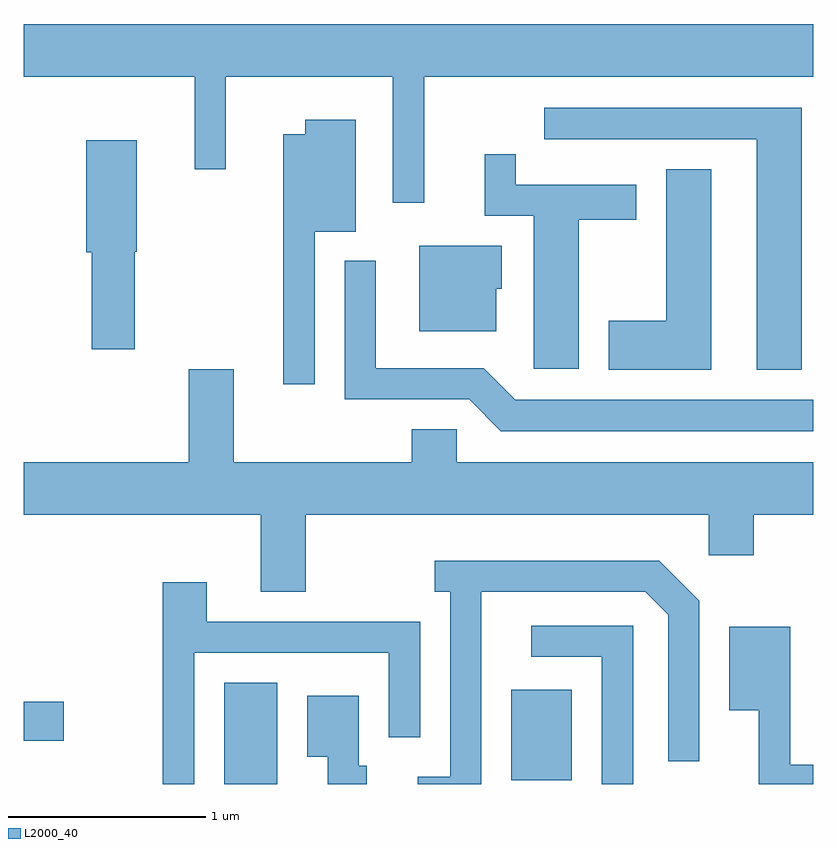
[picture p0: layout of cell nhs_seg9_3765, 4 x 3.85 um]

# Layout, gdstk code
import gdstk
lib = gdstk.Library(unit=1e-6, precision=1e-09)
def R(c, l, rs):  # rectangles x0, y0, x1, y1
    for r in rs: c.add(gdstk.rectangle(r[:2], r[2:], *l))
def P(c, l, *ps):  # polygons
    for p in ps: c.add(gdstk.Polygon(p, *l))
L2000_40 = (2000, 40)

nhs_seg9_3765 = lib.new_cell('nhs_seg9_3765')
R(nhs_seg9_3765, L2000_40, [(296.626,2010.432,296.894,2010.944), (298.081,2010.451,298.389,2010.909), (295.611,2010.651,295.814,2010.849)])
P(nhs_seg9_3765, L2000_40, [(297.639,2014.016),(299.611,2014.016),(299.611,2014.284),(295.611,2014.284),(295.611,2014.016),(296.476,2014.016),(296.476,2013.548),(296.634,2013.548),(296.634,2014.016),(297.481,2014.016),(297.481,2013.378),(297.639,2013.378)],
  [(299.554,2013.859),(298.248,2013.859),(298.248,2013.701),(299.326,2013.701),(299.326,2012.531),(299.554,2012.531)],
  [(297.084,2013.231),(297.294,2013.231),(297.294,2013.799),(297.036,2013.799),(297.036,2013.724),(296.926,2013.724),(296.926,2012.458),(297.084,2012.458)],
  [(296.174,2013.13),(296.184,2013.13),(296.184,2013.694),(295.926,2013.694),(295.926,2013.126),(295.956,2013.126),(295.956,2012.636),(296.174,2012.636)],
  [(298.424,2013.291),(298.714,2013.291),(298.714,2013.469),(298.104,2013.469),(298.104,2013.623),(297.946,2013.623),(297.946,2013.311),(298.196,2013.311),(298.196,2012.536),(298.424,2012.536)],
  [(299.094,2013.549),(298.866,2013.549),(298.866,2012.779),(298.576,2012.779),(298.576,2012.531),(299.094,2012.531)],
  [(298.004,2012.941),(298.034,2012.941),(298.034,2013.159),(297.616,2013.159),(297.616,2012.726),(298.004,2012.726)],
  [(299.611,2012.379),(298.102,2012.379),(297.942,2012.539),(297.394,2012.539),(297.394,2013.083),(297.236,2013.083),(297.236,2012.381),(297.869,2012.381),(298.029,2012.221),(299.611,2012.221)],
  [(297.039,2011.796),(299.081,2011.796),(299.081,2011.591),(299.309,2011.591),(299.309,2011.796),(299.611,2011.796),(299.611,2012.064),(297.804,2012.064),(297.804,2012.229),(297.576,2012.229),(297.576,2012.064),(296.674,2012.064),(296.674,2012.534),(296.446,2012.534),(296.446,2012.064),(295.611,2012.064),(295.611,2011.796),(296.811,2011.796),(296.811,2011.406),(297.039,2011.406)],
  [(297.929,2011.406),(298.759,2011.406),(298.876,2011.289),(298.876,2010.548),(299.034,2010.548),(299.034,2011.362),(298.832,2011.564),(297.693,2011.564),(297.693,2011.406),(297.771,2011.406),(297.771,2010.469),(297.608,2010.469),(297.608,2010.432),(297.929,2010.432)],
  [(296.474,2011.096),(297.461,2011.096),(297.461,2010.668),(297.619,2010.668),(297.619,2011.254),(296.539,2011.254),(296.539,2011.454),(296.316,2011.454),(296.316,2010.432),(296.474,2010.432)],
  [(298.699,2011.234),(298.183,2011.234),(298.183,2011.076),(298.541,2011.076),(298.541,2010.432),(298.699,2010.432)],
  [(299.611,2010.529),(299.494,2010.529),(299.494,2011.229),(299.186,2011.229),(299.186,2010.806),(299.336,2010.806),(299.336,2010.432),(299.611,2010.432)],
  [(297.349,2010.524),(297.309,2010.524),(297.309,2010.879),(297.046,2010.879),(297.046,2010.571),(297.151,2010.571),(297.151,2010.432),(297.349,2010.432)])

lib.write_gds('nhs_seg9_3765.gds')
